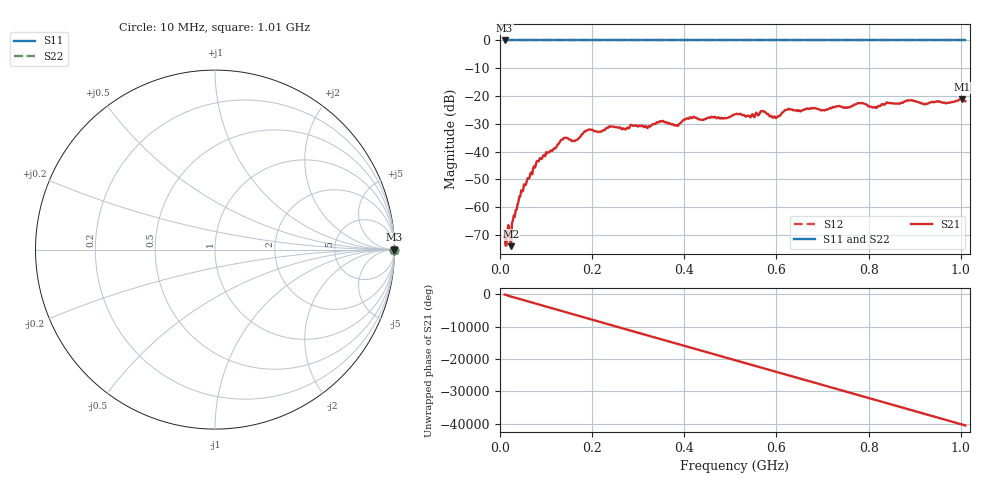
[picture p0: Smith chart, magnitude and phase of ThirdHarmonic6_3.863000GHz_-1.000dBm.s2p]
! 8/17/2025 1:30:24 PM
! C:\ANRITSUVNA\TEMP\TEMP.S2P
! CHANNEL.1
! TR.MEASUREMENT
! RAW.DATA
! RF.CORRECTION.OFF
! AVERAGING.OFF
! IF.BANDWIDTH: 5KHZ
! SWEEPTYPE:  FREQ.SWEEP(Linear)
! Reference Plane Port Info
! PORT:  PORT1  PORT2
! DISTANCE:  0  m  0  m
! TIME:  0  s  0  s
! PHASE.OFFSET:  0  deg.  0  deg.
! LOSS:  0  dB  0  dB
! REF.LOSS:  0  dB  0  dB
! REF.FREQ:  0  Hz  0  Hz
! Power Info
! POWER:  -20  dBm  -20  dBm
! EFF.POWER:  -20  dBm  -20  dBm
! SOURCE.ATTEN:  0  dB  0  dB
! TEST.ATTEN:  0  dB  0  dB
# GHZ S RI R 50.0
! FREQ.GHZ  S11RE  S11IM  S21RE  S21IM  S12RE  S12IM  S22RE  S22IM
!; PortSelection: Port_12
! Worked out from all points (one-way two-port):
!   501 points, 10 MHz to 1.01 GHz, reference 50 ohm
!   highest |S21| = -21.14 dB at 1.002 GHz (marker M1); lowest = -74.1 dB at 24 MHz (marker M2)
!   lowest |S11| = 0.0 dB at 10 MHz (marker M3)
!   |S11| at or under -10 dB: nowhere
!   |S22| runs from 0.0 to 0.0 dB; largest |S21 - S12| = 1.1
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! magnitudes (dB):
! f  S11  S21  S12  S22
! 10 MHz  0.0  -70.2  0.0  0.0
! 24 MHz  0.0  -74.1  0.0  0.0
! 30 MHz  0.0  -62.9  0.0  0.0
! 44 MHz  0.0  -56.1  0.0  0.0
! 84 MHz  0.0  -43.5  0.0  0.0
! 136 MHz  0.0  -35.6  0.0  0.0
! 160 MHz  0.0  -36.2  0.0  0.0
! 178 MHz  0.0  -33.8  0.0  0.0
! 194 MHz  0.0  -32.0  0.0  0.0
! 344 MHz  0.0  -29.5  0.0  0.0
! 382 MHz  0.0  -30.5  0.0  0.0
! 416 MHz  0.0  -28.0  0.0  0.0
! 510 MHz  0.0  -26.6  0.0  0.0
! 570 MHz  0.0  -25.5  0.0  0.0
! 596 MHz  0.0  -27.4  0.0  0.0
! 624 MHz  0.0  -24.9  0.0  0.0
! 678 MHz  0.0  -24.4  0.0  0.0
! 782 MHz  0.0  -22.6  0.0  0.0
! 814 MHz  0.0  -24.0  0.0  0.0
! 844 MHz  0.0  -22.6  0.0  0.0
! 1.002 GHz  0.0  -21.1  0.0  0.0
! 1.01 GHz  0.0  -21.9  0.0  0.0
